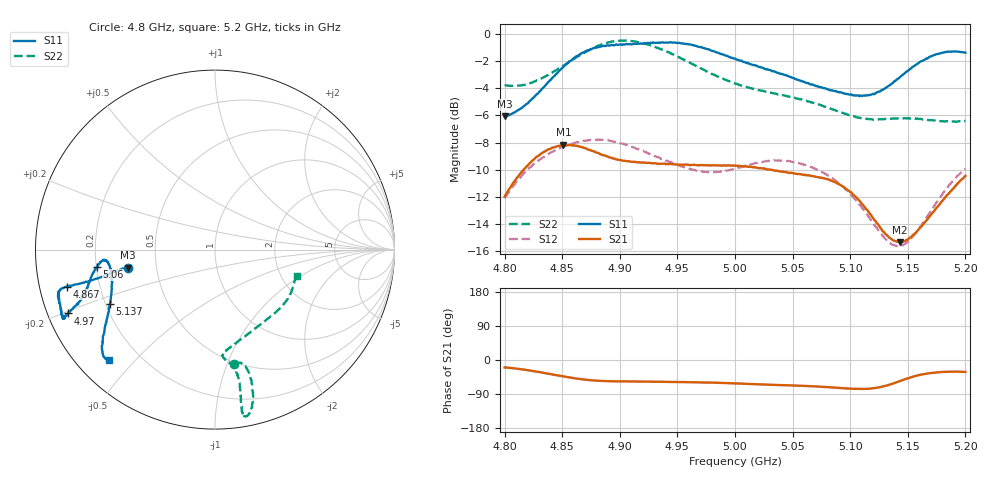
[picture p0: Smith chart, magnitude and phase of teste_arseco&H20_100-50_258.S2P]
! Network Analyzer HP8722D
! Hewlett-Packard
! Data name: Linha & Wilkinson
! Saver's name: Rodrigo Anjos
! Comments: Teste da utilização de aquisição
! continua pelo VNA HP8722D
! Time and date: 6/5/2025 14:43
!  Frequency  S11  S21  S12  S22
# HZ  S  MA R 50
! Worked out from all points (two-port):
!   401 points, 4.8 GHz to 5.2 GHz, reference 50 ohm
!   highest |S21| = -8.16 dB at 4.851 GHz (marker M1); lowest = -15.3 dB at 5.143 GHz (marker M2)
!   |S21| within 3 dB of the highest: 4.806 GHz to 5.092 GHz (286.5 MHz wide, 5.79 % of centre); 5.191721 GHz to end of sweep
!   lowest |S11| = -6.1 dB at 4.8 GHz (marker M3), VSWR 2.98, Z = 17 - j4.55 ohm
!   |S11| at or under -10 dB: nowhere
!   |S22| runs from -6.5 to -0.5 dB; largest |S21 - S12| = 0.62
!   S11 on the Smith chart (normalised r, x): 4.8 GHz: 0.34, -0.09; 4.867 GHz: 0.08, -0.12; 4.97 GHz: 0.06, -0.21; 5.06 GHz: 0.20, -0.07; 5.137 GHz: 0.22, -0.23; 5.2 GHz: 0.09, -0.42
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4.8e9  0.4969 -168.3  0.2519 -19.8  0.2486 -140.9  0.6471 -80.4
4.826e9  0.5879 -167.3  0.3475 -29.8  0.3335 -144.5  0.6685 -75.6
4.851e9  0.7556 -165.9  0.3907 -43.4  0.3844 -149.3  0.7637 -74.6
4.867e9  0.8503 -165.9  0.3831 -50.9  0.4027 -152.0  0.844 -75.4
4.879e9  0.8904 -165.5  0.3667 -54.2  0.4077 -154.1  0.8934 -76.6
4.899e9  0.9121 -162.9  0.3441 -56.4  0.3979 -156.6  0.9429 -79.1
4.914e9  0.9188 -159.6  0.3375 -56.6  0.3787 -157.1  0.9361 -80.4
4.934e9  0.9291 -156.5  0.3328 -57.4  0.351 -155.7  0.8837 -80.5
4.97e9  0.8933 -156.5  0.3293 -59.1  0.3126 -147.0  0.747 -79.7
5e9  0.8109 -159.0  0.3276 -61.9  0.3195 -137.2  0.6571 -81.3
5.035e9  0.7242 -165.3  0.3138 -65.9  0.3423 -134.4  0.6029 -85.5
5.06e9  0.6662 -171.6  0.3023 -68.2  0.3302 -136.1  0.5701 -84.3
5.067e9  0.6516 -173.0  0.3001 -69.2  0.3229 -136.8  0.5587 -82.8
5.084e9  0.6207 -174.8  0.2885 -72.4  0.2955 -138.3  0.5286 -76.3
5.101e9  0.5987 -172.1  0.2608 -75.8  0.2554 -138.8  0.4999 -66.6
5.116e9  0.5949 -165.4  0.2213 -76.0  0.2125 -135.5  0.4863 -55.7
5.134e9  0.6458 -154.4  0.178 -65.4  0.1707 -120.7  0.4876 -43.3
5.137e9  0.6599 -152.5  0.1743 -62.3  0.1677 -116.8  0.4878 -41.5
5.143e9  0.6919 -149.3  0.1711 -55.7  0.1656 -108.8  0.4882 -38.0
5.154e9  0.7557 -144.5  0.1813 -44.3  0.1792 -94.9  0.4885 -32.3
5.172e9  0.8331 -139.1  0.2211 -33.6  0.2298 -81.2  0.481 -24.5
5.2e9  0.8531 -133.7  0.3004 -31.5  0.3193 -76.9  0.478 -17.7
